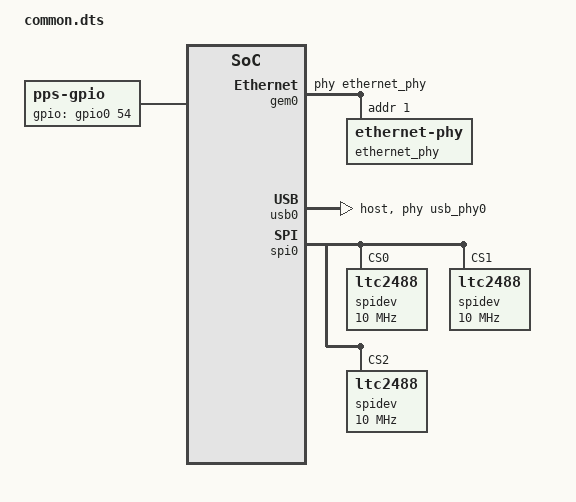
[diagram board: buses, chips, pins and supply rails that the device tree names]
/ {
  usb_phy0: phy0 {
    #phy-cells = <0>;
    compatible = "ulpi-phy";
    reg = <0xe0002000 0x1000>;
    view-port = <0x0170>;
    drv-vbus;
  };
  pps {
    compatible = "pps-gpio";
    gpios = <&gpio0 54 0>;
    capture-clear;
  };
};

&gem0 {
  phy-handle = <&ethernet_phy>;
  ethernet_phy: ethernet-phy@1 {
    reg = <1>;
  };
};

&usb0 {
  dr_mode = "host";
  usb-phy = <&usb_phy0>;
  xlnx,phy-reset-gpio = <&gpio0 46 0>;
};

&spi0 {
  spidev@0 {
    compatible = "ltc2488";
    reg = <0x0>;
    spi-max-frequency = <10000000>;
  };
  spidev@1 {
    compatible = "ltc2488";
    reg = <0x1>;
    spi-max-frequency = <10000000>;
  };
  spidev@2 {
    compatible = "ltc2488";
    reg = <0x2>;
    spi-max-frequency = <10000000>;
  };
};
